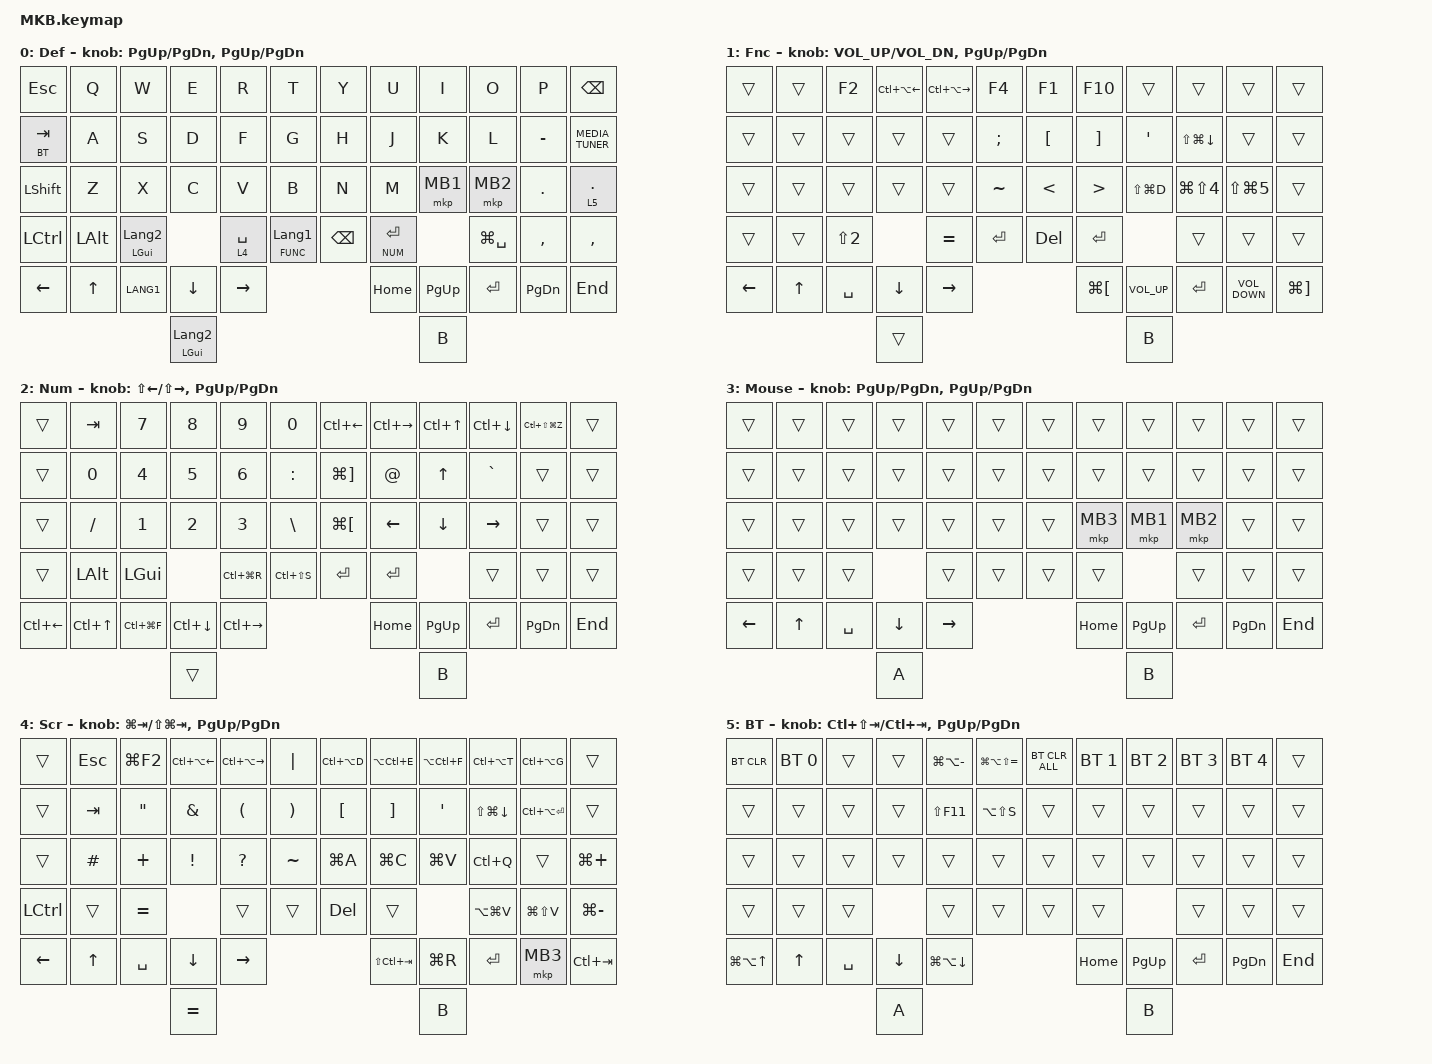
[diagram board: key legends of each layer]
// #include <layout_shift.dtsi>

#include <layout_shift_kp_override.dtsi>
#include <behaviors.dtsi>
#include <dt-bindings/zmk/bt.h>
#include <dt-bindings/zmk/keys.h>
#include <dt-bindings/zmk/pointing.h>

#define DEF 0
#define FUNC 1
#define NUM 2
#define MOUSE 3
#define SCROLL 4
#define BT 5

&mt {
    flavor = "balanced";
    tapping-term-ms = <280>;
    quick-tap-ms = <175>;
    require-prior-idle-ms = <150>;
};

/ {
    combos {
        compatible = "zmk,combos";

        cmd+t {
            bindings = <&kp LG(T)>;
            key-positions = <5 4>;
        };

        cmd+n {
            bindings = <&kp LG(N)>;
            key-positions = <30 31>;
        };

        cmd+option+u {
            bindings = <&kp LA(LG(U))>;
            key-positions = <6 7>;
        };

        cmd+shift+v {
            bindings = <&kp LG(LS(V))>;
            key-positions = <29 28>;
        };

        cmd+w {
            bindings = <&kp LG(W)>;
            key-positions = <1 2>;
        };

        cmd+g {
            bindings = <&kp LG(F)>;
            key-positions = <17 16>;
        };
    };

    keymap {
        compatible = "zmk,keymap";

        default_layer {
            label = "Def";
            bindings = <
&kp ESCAPE  &kp Q     &kp W                &kp E                &kp R        &kp T                    &kp Y          &kp U          &kp I        &kp O          &kp P          &kp BACKSPACE
&lt BT TAB  &kp A     &kp S                &kp D                &kp F        &kp G                    &kp H          &kp J          &kp K        &kp L          &kp MINUS      &kp C_MEDIA_TUNER
&kp LSHFT   &kp Z     &kp X                &kp C                &kp V        &kp B                    &kp N          &kp M          &mkp MB1     &mkp MB2       &kp PERIOD     &lt 5 PERIOD
&kp LCTRL   &kp LALT  &mt LGUI LANGUAGE_2                       &lt 4 SPACE  &lt FUNC LANGUAGE_1      &kp BACKSPACE  &lt NUM ENTER               &kp LG(SPACE)  &kp COMMA      &kp COMMA
&kp LEFT    &kp UP    &kp LANG1            &kp DOWN             &kp RIGHT                                            &kp HOME       &kp PAGE_UP  &kp ENTER      &kp PAGE_DOWN  &kp END
                                           &mt LGUI LANGUAGE_2                                                                      &kp B
            >;

            sensor-bindings =
                <&inc_dec_kp PAGE_UP PAGE_DOWN>,
                <&inc_dec_kp PG_UP PG_DN>;
        };

        function_layer {
            label = "Fnc";
            bindings = <
&trans    &trans  &kp F2            &kp LC(LA(LEFT))  &kp LC(LA(RIGHT))  &kp F4             &kp F1            &kp F10               &trans           &trans                &trans                &trans
&trans    &trans  &trans            &trans            &trans             &kp SEMICOLON      &kp LEFT_BRACKET  &kp RIGHT_BRACKET     &kp SQT          &kp LS(LG(DOWN))      &trans                &trans
&trans    &trans  &trans            &trans            &trans             &kp TILDE          &kp LESS_THAN     &kp GREATER_THAN      &kp LS(LG(D))    &kp LG(LS(NUMBER_4))  &kp LS(LG(NUMBER_5))  &trans
&trans    &trans  &kp LS(NUMBER_2)                    &kp EQUAL          &kp ENTER          &kp DELETE        &kp ENTER                              &trans                &trans                &trans
&kp LEFT  &kp UP  &kp SPACE         &kp DOWN          &kp RIGHT                                               &kp LG(LEFT_BRACKET)  &kp C_VOLUME_UP  &kp ENTER             &kp C_VOLUME_DOWN     &kp LG(RIGHT_BRACKET)
                                    &trans                                                                                          &kp B
            >;

            sensor-bindings = <&inc_dec_kp C_VOL_UP C_VOL_DN &inc_dec_kp PG_UP PG_DN>;
        };

        num_layer {
            label = "Num";
            bindings = <
&trans        &kp TAB       &kp N7         &kp N8        &kp N9         &kp NUMBER_0       &kp LC(LEFT)           &kp LC(RIGHT)  &kp LC(UP_ARROW)  &kp LC(DOWN)  &kp LC(LS(LG(Z)))  &trans
&trans        &kp NUMBER_0  &kp NUMBER_4   &kp N5        &kp NUMBER_6   &kp COLON          &kp LG(RIGHT_BRACKET)  &kp AT_SIGN    &kp UP_ARROW      &kp GRAVE     &trans             &trans
&trans        &kp SLASH     &kp NUMBER_1   &kp NUMBER_2  &kp NUMBER_3   &kp BACKSLASH      &kp LG(LEFT_BRACKET)   &kp LEFT       &kp DOWN          &kp RIGHT     &trans             &trans
&trans        &kp LEFT_ALT  &kp LGUI                     &kp LC(LG(R))  &kp LC(LS(S))      &kp ENTER              &kp ENTER                        &trans        &trans             &trans
&kp LC(LEFT)  &kp LC(UP)    &kp LC(LG(F))  &kp LC(DOWN)  &kp LC(RIGHT)                                            &kp HOME       &kp PG_UP         &kp ENTER     &kp PG_DN          &kp END
                                           &trans                                                                                &kp B
            >;

            sensor-bindings =
                <&inc_dec_kp LS(LEFT) LS(RIGHT)>,
                <&inc_dec_kp PG_UP PG_DN>;
        };

        mouse_layer {
            label = "Mouse";
            bindings = <
&trans    &trans  &trans     &trans    &trans     &trans      &trans  &trans    &trans     &trans     &trans     &trans
&trans    &trans  &trans     &trans    &trans     &trans      &trans  &trans    &trans     &trans     &trans     &trans
&trans    &trans  &trans     &trans    &trans     &trans      &trans  &mkp MB3  &mkp MB1   &mkp MB2   &trans     &trans
&trans    &trans  &trans               &trans     &trans      &trans  &trans               &trans     &trans     &trans
&kp LEFT  &kp UP  &kp SPACE  &kp DOWN  &kp RIGHT                      &kp HOME  &kp PG_UP  &kp ENTER  &kp PG_DN  &kp END
                             &kp A                                              &kp B
            >;

            sensor-bindings =
                <&inc_dec_kp PAGE_UP PAGE_DOWN>,
                <&inc_dec_kp PG_UP PG_DN>;
        };

        scroll_layer {
            label = "Scr";
            bindings = <
&trans     &kp ESCAPE  &kp LG(F2)         &kp LC(LA(LEFT))  &kp LC(LA(RIGHT))     &kp PIPE                   &kp LC(LA(D))     &kp LA(LC(E))      &kp LA(LC(F))  &kp LC(LA(T))     &kp LC(LA(G))      &trans
&trans     &kp TAB     &kp DOUBLE_QUOTES  &kp AMPERSAND     &kp LEFT_PARENTHESIS  &kp RIGHT_PARENTHESIS      &kp LEFT_BRACKET  &kp RIGHT_BRACKET  &kp SQT        &kp LS(LG(DOWN))  &kp LC(LA(ENTER))  &trans
&trans     &kp HASH    &kp PLUS           &kp EXCLAMATION   &kp QUESTION          &kp TILDE                  &kp LG(A)         &kp LG(C)          &kp LG(V)      &kp LC(Q)         &trans             &kp LG(PLUS)
&kp LCTRL  &trans      &kp EQUAL                            &trans                &trans                     &kp DELETE        &trans                            &kp LA(LG(V))     &kp LG(LS(V))      &kp LG(MINUS)
&kp LEFT   &kp UP      &kp SPACE          &kp DOWN          &kp RIGHT                                                          &kp LS(LC(TAB))    &kp LG(R)      &kp ENTER         &mkp MB3           &kp LC(TAB)
                                          &kp EQUAL                                                                                               &kp B
            >;

            sensor-bindings =
                <&inc_dec_kp LG(TAB) LS(LG(TAB))>,
                <&inc_dec_kp PG_UP PG_DN>;
        };

        bt_layer {
            label = "BT";
            bindings = <
&bt BT_CLR            &bt BT_SEL 0  &trans     &trans    &kp LG(LA(MINUS))  &kp LG(LA(LS(EQUAL)))      &bt BT_CLR_ALL  &bt BT_SEL 1  &bt BT_SEL 2  &bt BT_SEL 3  &bt BT_SEL 4  &trans
&trans                &trans        &trans     &trans    &kp LS(F11)        &kp LA(LS(S))              &trans          &trans        &trans        &trans        &trans        &trans
&trans                &trans        &trans     &trans    &trans             &trans                     &trans          &trans        &trans        &trans        &trans        &trans
&trans                &trans        &trans               &trans             &trans                     &trans          &trans                      &trans        &trans        &trans
&kp LG(LA(UP_ARROW))  &kp UP        &kp SPACE  &kp DOWN  &kp LG(LA(DOWN))                                              &kp HOME      &kp PG_UP     &kp ENTER     &kp PG_DN     &kp END
                                               &kp A                                                                                 &kp B
            >;

            sensor-bindings =
                <&inc_dec_kp LC(LS(TAB)) LC(TAB)>,
                <&inc_dec_kp PG_UP PG_DN>;
        };
    };
};
